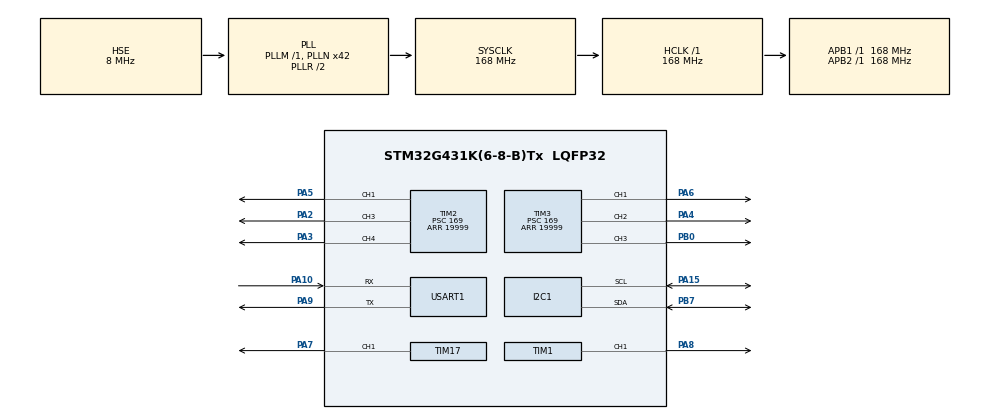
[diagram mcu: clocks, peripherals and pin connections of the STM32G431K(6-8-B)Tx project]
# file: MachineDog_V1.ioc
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I2C1.Timing=0x50916E9F
Mcu.Family=STM32G4
Mcu.Name=STM32G431K(6-8-B)Tx
Mcu.Package=LQFP32
NVIC.PriorityGroup=NVIC_PRIORITYGROUP_4
PA10.Mode=Asynchronous
PA10.Signal=USART1_RX
PA13.Mode=Serial_Wire
PA13.Signal=SYS_JTMS-SWDIO
PA14.Mode=Serial_Wire
PA14.Signal=SYS_JTCK-SWCLK
PA15.Mode=I2C
PA15.Signal=I2C1_SCL
PA2.Signal=S_TIM2_CH3
PA3.Signal=S_TIM2_CH4
PA4.Signal=S_TIM3_CH2
PA5.Signal=S_TIM2_CH1
PA6.Signal=S_TIM3_CH1
PA7.Signal=S_TIM17_CH1
PA8.Signal=S_TIM1_CH1
PA9.Mode=Asynchronous
PA9.Signal=USART1_TX
PB0.Signal=S_TIM3_CH3
PB7.Mode=I2C
PB7.Signal=I2C1_SDA
PF0-OSC_IN.Mode=HSE-External-Oscillator
PF0-OSC_IN.Signal=RCC_OSC_IN
PF1-OSC_OUT.Mode=HSE-External-Oscillator
PF1-OSC_OUT.Signal=RCC_OSC_OUT
ProjectManager.HeapSize=0x200
ProjectManager.StackSize=0x400
ProjectManager.TargetToolchain=STM32CubeIDE
RCC.ADC12Freq_Value=168000000
RCC.AHBFreq_Value=168000000
RCC.APB1Freq_Value=168000000
RCC.APB1TimFreq_Value=168000000
RCC.APB2Freq_Value=168000000
RCC.APB2TimFreq_Value=168000000
RCC.CortexFreq_Value=168000000
RCC.EXTERNAL_CLOCK_VALUE=12288000
RCC.HCLKFreq_Value=168000000
RCC.HSE_VALUE=8000000
RCC.HSI48_VALUE=48000000
RCC.HSI_VALUE=16000000
RCC.LSE_VALUE=32768
RCC.PLLN=42
RCC.PLLSourceVirtual=RCC_PLLSOURCE_HSE
RCC.SYSCLKFreq_VALUE=168000000
RCC.SYSCLKSource=RCC_SYSCLKSOURCE_PLLCLK
RCC.USBFreq_Value=168000000
RCC.VCOOutputFreq_Value=336000000
SH.S_TIM17_CH1.0=TIM17_CH1,PWM Generation1 CH1
SH.S_TIM1_CH1.0=TIM1_CH1,PWM Generation1 CH1
SH.S_TIM2_CH1.0=TIM2_CH1,PWM Generation1 CH1
SH.S_TIM2_CH3.0=TIM2_CH3,PWM Generation3 CH3
SH.S_TIM2_CH4.0=TIM2_CH4,PWM Generation4 CH4
SH.S_TIM3_CH1.0=TIM3_CH1,PWM Generation1 CH1
SH.S_TIM3_CH2.0=TIM3_CH2,PWM Generation2 CH2
SH.S_TIM3_CH3.0=TIM3_CH3,PWM Generation3 CH3
TIM1.Channel-PWM\ Generation1\ CH1=TIM_CHANNEL_1
TIM1.PeriodNoDither=19999
TIM1.Prescaler=169
TIM1.PulseNoDither_1=1500
TIM17.Channel=TIM_CHANNEL_1
TIM17.PeriodNoDither=19999
TIM17.Prescaler=169
TIM17.PulseNoDither_1=1500
TIM2.Channel-PWM\ Generation1\ CH1=TIM_CHANNEL_1
TIM2.Channel-PWM\ Generation3\ CH3=TIM_CHANNEL_3
TIM2.Channel-PWM\ Generation4\ CH4=TIM_CHANNEL_4
TIM2.PeriodNoDither=19999
TIM2.Prescaler=169
TIM2.PulseNoDither_1=1500
TIM2.PulseNoDither_3=1500
TIM2.PulseNoDither_4=1500
TIM3.Channel-PWM\ Generation1\ CH1=TIM_CHANNEL_1
TIM3.Channel-PWM\ Generation2\ CH2=TIM_CHANNEL_2
TIM3.Channel-PWM\ Generation3\ CH3=TIM_CHANNEL_3
TIM3.PeriodNoDither=19999
TIM3.Prescaler=169
TIM3.PulseNoDither_1=1500
TIM3.PulseNoDither_2=1500
TIM3.PulseNoDither_3=1500
USART1.VirtualMode-Asynchronous=VM_ASYNC
VP_SYS_VS_DBSignals.Mode=DisableDeadBatterySignals
VP_TIM17_VS_ClockSourceINT.Mode=Enable_Timer
VP_TIM1_VS_ClockSourceINT.Mode=Internal
VP_TIM2_VS_ClockSourceINT.Mode=Internal
VP_TIM3_VS_ClockSourceINT.Mode=Internal
board=custom

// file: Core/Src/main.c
/* USER CODE BEGIN Header */
/**
  ******************************************************************************
  * @file           : main.c
  * @brief          : 8 路舵机来回摆动 + UART 状态上报(v1 测试版)
  ******************************************************************************
  */
/* USER CODE END Header */
#include "main.h"
#include "i2c.h"
#include "tim.h"
#include "usart.h"
#include "gpio.h"

/* USER CODE BEGIN Includes */
#include <stdio.h>
/* USER CODE END Includes */

void SystemClock_Config(void);

int main(void)
{
  HAL_Init();
  SystemClock_Config();

  MX_GPIO_Init();
  MX_I2C1_Init();
  MX_TIM1_Init();
  MX_TIM2_Init();
  MX_TIM3_Init();
  MX_TIM17_Init();
  MX_USART1_UART_Init();

  /* USER CODE BEGIN 2 */
  /* ⚠️ CubeMX 不自动调 HAL_TIM_PWM_MspPostInit → 必须手动启动 HAL_TIM_PWM_Start */
  HAL_TIM_PWM_Start(&htim1, TIM_CHANNEL_1);    /* PA8  = TIM1_CH1 = servo7 */
  HAL_TIM_PWM_Start(&htim2, TIM_CHANNEL_1);    /* PA5  = TIM2_CH1 = servo3 */
  HAL_TIM_PWM_Start(&htim2, TIM_CHANNEL_3);    /* PA2  = TIM2_CH3 = servo0 */
  HAL_TIM_PWM_Start(&htim2, TIM_CHANNEL_4);    /* PA3  = TIM2_CH4 = servo1 */
  HAL_TIM_PWM_Start(&htim3, TIM_CHANNEL_1);    /* PA6  = TIM3_CH1 = servo4 */
  HAL_TIM_PWM_Start(&htim3, TIM_CHANNEL_2);    /* PA4  = TIM3_CH2 = servo2 */
  HAL_TIM_PWM_Start(&htim3, TIM_CHANNEL_3);    /* PB0  = TIM3_CH3 = servo6 */
  HAL_TIM_PWM_Start(&htim17, TIM_CHANNEL_1);   /* PA7  = TIM17_CH1 = servo5 */
  /* USER CODE END 2 */

  while (1)
  {
    /* USER CODE BEGIN 3 */
    /* 8 路舵机来回摆动:右 → 中 → 左 → 中 (各 800ms) */

    /* 右侧 2000 (2.0ms = +90°) */
    __HAL_TIM_SET_COMPARE(&htim1, TIM_CHANNEL_1, 2000);
    __HAL_TIM_SET_COMPARE(&htim2, TIM_CHANNEL_1, 2000);
    __HAL_TIM_SET_COMPARE(&htim2, TIM_CHANNEL_3, 2000);
    __HAL_TIM_SET_COMPARE(&htim2, TIM_CHANNEL_4, 2000);
    __HAL_TIM_SET_COMPARE(&htim3, TIM_CHANNEL_1, 2000);
    __HAL_TIM_SET_COMPARE(&htim3, TIM_CHANNEL_2, 2000);
    __HAL_TIM_SET_COMPARE(&htim3, TIM_CHANNEL_3, 2000);
    __HAL_TIM_SET_COMPARE(&htim17, TIM_CHANNEL_1, 2000);
    HAL_Delay(800);

    /* 中位 1500 */
    __HAL_TIM_SET_COMPARE(&htim1, TIM_CHANNEL_1, 1500);
    __HAL_TIM_SET_COMPARE(&htim2, TIM_CHANNEL_1, 1500);
    __HAL_TIM_SET_COMPARE(&htim2, TIM_CHANNEL_3, 1500);
    __HAL_TIM_SET_COMPARE(&htim2, TIM_CHANNEL_4, 1500);
    __HAL_TIM_SET_COMPARE(&htim3, TIM_CHANNEL_1, 1500);
    __HAL_TIM_SET_COMPARE(&htim3, TIM_CHANNEL_2, 1500);
    __HAL_TIM_SET_COMPARE(&htim3, TIM_CHANNEL_3, 1500);
    __HAL_TIM_SET_COMPARE(&htim17, TIM_CHANNEL_1, 1500);
    HAL_Delay(800);

    /* 左侧 1000 */
    __HAL_TIM_SET_COMPARE(&htim1, TIM_CHANNEL_1, 1000);
    __HAL_TIM_SET_COMPARE(&htim2, TIM_CHANNEL_1, 1000);
    __HAL_TIM_SET_COMPARE(&htim2, TIM_CHANNEL_3, 1000);
    __HAL_TIM_SET_COMPARE(&htim2, TIM_CHANNEL_4, 1000);
    __HAL_TIM_SET_COMPARE(&htim3, TIM_CHANNEL_1, 1000);
    __HAL_TIM_SET_COMPARE(&htim3, TIM_CHANNEL_2, 1000);
    __HAL_TIM_SET_COMPARE(&htim3, TIM_CHANNEL_3, 1000);
    __HAL_TIM_SET_COMPARE(&htim17, TIM_CHANNEL_1, 1000);
    HAL_Delay(800);

    /* 再回中位 1500 */
    __HAL_TIM_SET_COMPARE(&htim1, TIM_CHANNEL_1, 1500);
    __HAL_TIM_SET_COMPARE(&htim2, TIM_CHANNEL_1, 1500);
    __HAL_TIM_SET_COMPARE(&htim2, TIM_CHANNEL_3, 1500);
    __HAL_TIM_SET_COMPARE(&htim2, TIM_CHANNEL_4, 1500);
    __HAL_TIM_SET_COMPARE(&htim3, TIM_CHANNEL_1, 1500);
    __HAL_TIM_SET_COMPARE(&htim3, TIM_CHANNEL_2, 1500);
    __HAL_TIM_SET_COMPARE(&htim3, TIM_CHANNEL_3, 1500);
    __HAL_TIM_SET_COMPARE(&htim17, TIM_CHANNEL_1, 1500);
    HAL_Delay(800);
    /* USER CODE END 3 */
  }
}

void SystemClock_Config(void)
{
  RCC_OscInitTypeDef RCC_OscInitStruct = {0};
  RCC_ClkInitTypeDef RCC_ClkInitStruct = {0};

  HAL_PWREx_ControlVoltageScaling(PWR_REGULATOR_VOLTAGE_SCALE1_BOOST);

  RCC_OscInitStruct.OscillatorType = RCC_OSCILLATORTYPE_HSE;
  RCC_OscInitStruct.HSEState = RCC_HSE_ON;
  RCC_OscInitStruct.PLL.PLLState = RCC_PLL_ON;
  RCC_OscInitStruct.PLL.PLLSource = RCC_PLLSOURCE_HSE;
  RCC_OscInitStruct.PLL.PLLM = RCC_PLLM_DIV1;
  RCC_OscInitStruct.PLL.PLLN = 42;
  RCC_OscInitStruct.PLL.PLLP = RCC_PLLP_DIV2;
  RCC_OscInitStruct.PLL.PLLQ = RCC_PLLQ_DIV2;
  RCC_OscInitStruct.PLL.PLLR = RCC_PLLR_DIV2;
  if (HAL_RCC_OscConfig(&RCC_OscInitStruct) != HAL_OK) { Error_Handler(); }

  RCC_ClkInitStruct.ClockType = RCC_CLOCKTYPE_HCLK|RCC_CLOCKTYPE_SYSCLK
                              |RCC_CLOCKTYPE_PCLK1|RCC_CLOCKTYPE_PCLK2;
  RCC_ClkInitStruct.SYSCLKSource = RCC_SYSCLKSOURCE_PLLCLK;
  RCC_ClkInitStruct.AHBCLKDivider = RCC_SYSCLK_DIV1;
  RCC_ClkInitStruct.APB1CLKDivider = RCC_HCLK_DIV1;
  RCC_ClkInitStruct.APB2CLKDivider = RCC_HCLK_DIV1;
  if (HAL_RCC_ClockConfig(&RCC_ClkInitStruct, FLASH_LATENCY_4) != HAL_OK) { Error_Handler(); }
}

void Error_Handler(void)
{
  __disable_irq();
  while (1) {}
}
